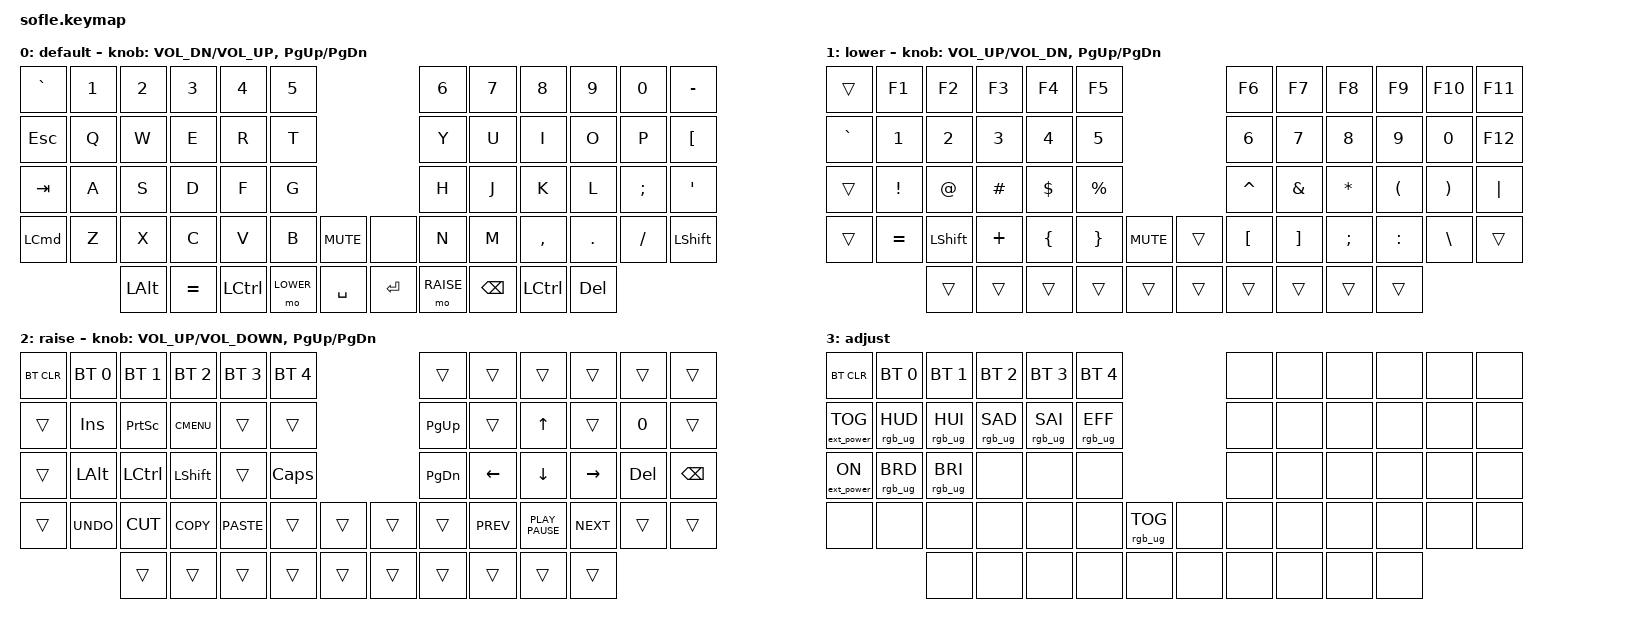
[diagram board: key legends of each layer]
/*
 * Copyright (c) 2020 The ZMK Contributors
 *
 * SPDX-License-Identifier: MIT
 */

#include <behaviors.dtsi>
#include <dt-bindings/zmk/bt.h>
#include <dt-bindings/zmk/ext_power.h>
#include <dt-bindings/zmk/keys.h>
#include <dt-bindings/zmk/rgb.h>

#define BASE 0
#define LOWER 1
#define RAISE 2
#define ADJUST 3

/ {
    // Activate ADJUST layer by pressing raise and lower

    conditional_layers {
        compatible = "zmk,conditional-layers";

        adjust_layer {
            if-layers = <LOWER RAISE>;
            then-layer = <ADJUST>;
        };
    };

    combos {
        compatible = "zmk,combos";

        language {
            bindings = <&kp F1>;
            key-positions = <54 50>;
        };
    };

    keymap {
        compatible = "zmk,keymap";

        default_layer {
            display-name = "default";

            // ------------------------------------------------------------------------------------------------------------
            // |   `   |  1  |  2  |  3   |  4   |  5   |                   |  6   |  7    |  8    |  9   |   0   |       |
            // |  ESC  |  Q  |  W  |  E   |  R   |  T   |                   |  Y   |  U    |  I    |  O   |   P   | BKSPC |
            // |  TAB  |  A  |  S  |  D   |  F   |  G   |                   |  H   |  J    |  K    |  L   |   ;   |   '   |
            // | SHIFT |  Z  |  X  |  C   |  V   |  B   |  MUTE  |  |       |  N   |  M    |  ,    |  .   |   /   | SHIFT |
            //               | GUI | ALT  | CTRL | LOWER|  ENTER |  | SPACE | RAISE| CTRL  | ALT   | GUI  |

            bindings = <
&kp GRAVE         &kp N1  &kp N2        &kp N3     &kp N4     &kp N5                              &kp N6     &kp N7         &kp N8     &kp N9   &kp N0     &kp MINUS
&kp ESC           &kp Q   &kp W         &kp E      &kp R      &kp T                               &kp Y      &kp U          &kp I      &kp O    &kp P      &kp LBKT
&kp TAB           &kp A   &kp S         &kp D      &kp F      &kp G                               &kp H      &kp J          &kp K      &kp L    &kp SEMI   &kp SQT
&kp LEFT_COMMAND  &kp Z   &kp X         &kp C      &kp V      &kp B      &kp C_MUTE    &none      &kp N      &kp M          &kp COMMA  &kp DOT  &kp SLASH  &kp LEFT_SHIFT
                          &kp LEFT_ALT  &kp EQUAL  &kp LCTRL  &mo LOWER  &kp SPACE     &kp ENTER  &mo RAISE  &kp BACKSPACE  &kp LCTRL  &kp DEL
            >;

            sensor-bindings =
                <&inc_dec_kp C_VOL_DN C_VOL_UP>,
                <&inc_dec_kp PG_UP PG_DN>;
        };

        lower_layer {
            display-name = "lower";

            // TODO: Some binds are waiting for shifted keycode support.
            // ------------------------------------------------------------------------------------------------------------
            // |       |  F1 |  F2 |  F3  |  F4  |  F5  |                   |  F6  |  F7   |  F8   |  F9  |  F10  |  F11  |
            // |   `   |  1  |  2  |  3   |  4   |  5   |                   |  6   |  7    |  8    |  9   |   0   |  F12  |
            // |       |  !  |  @  |  #   |  $   |  %   |                   |  ^   |  &    |  *    |  (   |   )   |   |   |
            // |       |  =  |  -  |  +   |  {   |  }   |        |  |       |  [   |  ]    |  ;    |  :   |   \   |       |
            //               |     |      |      |      |        |  |       |      |       |       |      |

            bindings = <
&trans     &kp F1     &kp F2          &kp F3    &kp F4    &kp F5                           &kp F6     &kp F7    &kp F8     &kp F9     &kp F10   &kp F11
&kp GRAVE  &kp N1     &kp N2          &kp N3    &kp N4    &kp N5                           &kp N6     &kp N7    &kp N8     &kp N9     &kp N0    &kp F12
&trans     &kp EXCL   &kp AT          &kp HASH  &kp DLLR  &kp PRCNT                        &kp CARET  &kp AMPS  &kp ASTRK  &kp LPAR   &kp RPAR  &kp PIPE
&trans     &kp EQUAL  &kp LEFT_SHIFT  &kp PLUS  &kp LBRC  &kp RBRC   &kp K_MUTE    &trans  &kp LBKT   &kp RBKT  &kp SEMI   &kp COLON  &kp BSLH  &trans
                      &trans          &trans    &trans    &trans     &trans        &trans  &trans     &trans    &trans     &trans
            >;

            sensor-bindings = <&inc_dec_kp C_VOL_UP C_VOL_DN &inc_dec_kp PG_UP PG_DN>;
        };

        raise_layer {
            display-name = "raise";

            // ------------------------------------------------------------------------------------------------------------
            // | BTCLR | BT1  | BT2  |  BT3  |  BT4  |  BT5 |                |      |      |       |      |       |       |
            // |       | INS  | PSCR | GUI   |       |      |                | PGUP |      |   ^   |      |       |       |
            // |       | ALT  | CTRL | SHIFT |       | CAPS |                | PGDN |   <- |   v   |  ->  |  DEL  | BKSPC |
            // |       | UNDO | CUT  | COPY  | PASTE |      |      |  |      |      |      |       |      |       |       |
            //                |      |       |       |      |      |  |      |      |      |       |      |

            bindings = <
&bt BT_CLR  &bt BT_SEL 0  &bt BT_SEL 1  &bt BT_SEL 2  &bt BT_SEL 3  &bt BT_SEL 4                    &trans     &trans      &trans            &trans      &trans   &trans
&trans      &kp INS       &kp PSCRN     &kp K_CMENU   &trans        &trans                          &kp PG_UP  &trans      &kp UP            &trans      &kp N0   &trans
&trans      &kp LALT      &kp LCTRL     &kp LSHFT     &trans        &kp CLCK                        &kp PG_DN  &kp LEFT    &kp DOWN          &kp RIGHT   &kp DEL  &kp BSPC
&trans      &kp K_UNDO    &kp K_CUT     &kp K_COPY    &kp K_PASTE   &trans        &trans    &trans  &trans     &kp K_PREV  &kp K_PLAY_PAUSE  &kp K_NEXT  &trans   &trans
                          &trans        &trans        &trans        &trans        &trans    &trans  &trans     &trans      &trans            &trans
            >;

            sensor-bindings =
                <&inc_dec_kp K_VOLUME_UP K_VOLUME_DOWN>,
                <&inc_dec_kp PG_UP PG_DN>;
        };

        adjust_layer {
            // ----------------------------------------------------------------------------------------------------------------------------
            // | BTCLR  |  BT1    |  BT2    |   BT3   |   BT4   |   BT5   |                  |      |      |       |      |       |       |
            // | EXTPWR | RGB_HUD | RGB_HUI | RGB_SAD | RGB_SAI | RGB_EFF |                  |      |      |       |      |       |       |
            // |        | RGB_BRD | RGB_BRI |         |         |         |                  |      |      |       |      |       |       |
            // |        |         |         |         |         |         | RGB_TOG | |      |      |      |       |      |       |       |
            //                    |         |         |         |         |         | |      |      |      |       |      |

            display-name = "adjust";
            bindings = <
&bt BT_CLR         &bt BT_SEL 0     &bt BT_SEL 1     &bt BT_SEL 2     &bt BT_SEL 3     &bt BT_SEL 4                               &none  &none  &none  &none  &none  &none
&ext_power EP_TOG  &rgb_ug RGB_HUD  &rgb_ug RGB_HUI  &rgb_ug RGB_SAD  &rgb_ug RGB_SAI  &rgb_ug RGB_EFF                            &none  &none  &none  &none  &none  &none
&ext_power EP_ON   &rgb_ug RGB_BRD  &rgb_ug RGB_BRI  &none            &none            &none                                      &none  &none  &none  &none  &none  &none
&none              &none            &none            &none            &none            &none            &rgb_ug RGB_TOG    &none  &none  &none  &none  &none  &none  &none
                                    &none            &none            &none            &none            &none              &none  &none  &none  &none  &none
            >;
        };
    };
};
